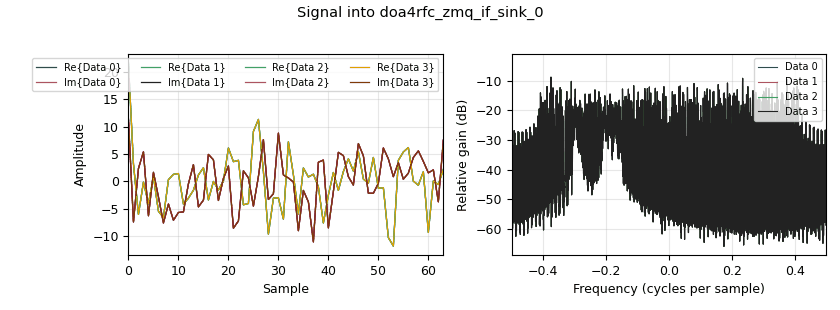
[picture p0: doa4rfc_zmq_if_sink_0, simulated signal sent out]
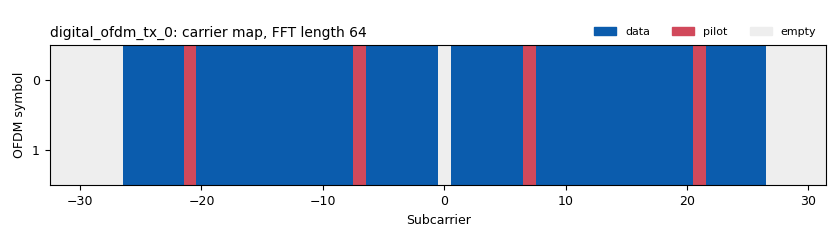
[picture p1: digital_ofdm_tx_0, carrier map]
options:
  parameters:
    generate_options: qt_gui
    id: ofdm_tx_grc
    output_language: python
    title: Not titled yet
  states: {}

blocks:
- name: packet_len
  id: variable
  parameters:
    value: '64'
  states: {}
- name: samp_rate
  id: variable
  parameters:
    value: '32000'
  states: {}
- name: blocks_stream_to_tagged_stream_0
  id: blocks_stream_to_tagged_stream
  parameters:
    len_tag_key: '"packet_len"'
    packet_len: '50'
    type: byte
  states: {}
- name: blocks_vector_source_x_0
  id: blocks_vector_source_x
  parameters:
    repeat: 'True'
    type: byte
    vector: range(0,50)
  states: {}
- name: digital_ofdm_tx_0
  id: digital_ofdm_tx
  parameters:
    cp_len: '16'
    fft_len: '64'
    header_mod: '"QPSK"'
    occupied_carriers: '[list(range(-26, -21)) + list(range(-20, -7)) + list(range(-6, 0)) + list(range(1, 7)) + list(range(8, 21)) + list(range(22, 27))]'
    packet_len_key: packet_len
    payload_mod: '"8-PSK"'
    pilot_carriers: ((-21, -7, 7, 21,),)
    pilot_symbols: |-
      tuple((x, x, x, -x) for x in (1, 1, 1, 1, -1, -1, -1, 1, -1, -1, -1, -1, 1, 1, -1, 1, -1, -1, 1, 1, -1, 1, 1, -1, 1, 1, 1, 1, 1, 1, -1, 1,
      	1, 1, -1, 1, 1, -1, -1, 1, 1, 1, -1, 1, -1, -1, -1, 1, -1, 1, -1, -1, 1, -1, -1, 1, 1, 1, 1, 1, -1, -1, 1, 1,
      	-1, -1, 1, -1, 1, -1, 1, 1, -1, -1, -1, 1, 1, -1, -1, -1, -1, 1, -1, -1, 1, -1, 1, 1, 1, 1, -1, 1, -1, 1, -1, 1,
      	-1, -1, -1, -1, -1, 1, -1, 1, 1, -1, 1, -1, 1, 1, 1, -1, -1, 1, -1, -1, -1, 1, 1, 1, -1, -1, -1, -1, -1, -1, -1))
    rolloff: '0'
    sync_word1: |
      [0.0, 0.0, 0.0, 0.0, 0.0, 0.0, 0.0, 0.0, 1.4142135623730951, 0.0, 0.0, 0.0, -1.4142135623730951, 0.0, 0.0, 0.0, 1.4142135623730951, 0.0, 0.0, 0.0, 1.4142135623730951, 0.0, 0.0, 0.0, 1.4142135623730951, 0.0, 0.0, 0.0, -1.4142135623730951, 0.0, 0.0, 0.0, 0.0, 0.0, 0.0, 0.0, 1.4142135623730951, 0.0, 0.0, 0.0, 1.4142135623730951, 0.0, 0.0, 0.0, 1.4142135623730951, 0.0, 0.0, 0.0, -1.4142135623730951, 0.0, 0.0, 0.0, 1.4142135623730951, 0.0, 0.0, 0.0, 1.4142135623730951, 0.0, 0.0, 0.0, 0.0, 0.0, 0.0, 0.0]
    sync_word2: |
      [0, 0, 0, 0, 0, 0, 1, 1, -1, 1, -1, -1, -1, 1, -1, 1, -1, -1, -1, -1, -1, -1, -1, -1, 1, 1, -1, -1, -1, 1, -1, 1, 0, 1, 1, 1, 1, -1, -1, -1, -1, -1, 1, -1, -1, 1, -1, 1, -1, 1, -1, -1, 1, 1, 1, 1, 1, 1, 1, 0, 0, 0, 0, 0]
  states: {}
- name: doa4rfc_zmq_if_sink_0
  id: doa4rfc_zmq_if_sink
  parameters:
    endpoint: tcp://127.0.0.1:5554
    num_channels: '4'
  states: {}

connections:
- [blocks_stream_to_tagged_stream_0, '0', digital_ofdm_tx_0, '0']
- [blocks_vector_source_x_0, '0', blocks_stream_to_tagged_stream_0, '0']
- [digital_ofdm_tx_0, '0', doa4rfc_zmq_if_sink_0, '0']
- [digital_ofdm_tx_0, '0', doa4rfc_zmq_if_sink_0, '1']
- [digital_ofdm_tx_0, '0', doa4rfc_zmq_if_sink_0, '2']
- [digital_ofdm_tx_0, '0', doa4rfc_zmq_if_sink_0, '3']

metadata:
  file_format: 1
  grc_version: 3.10.12.0
